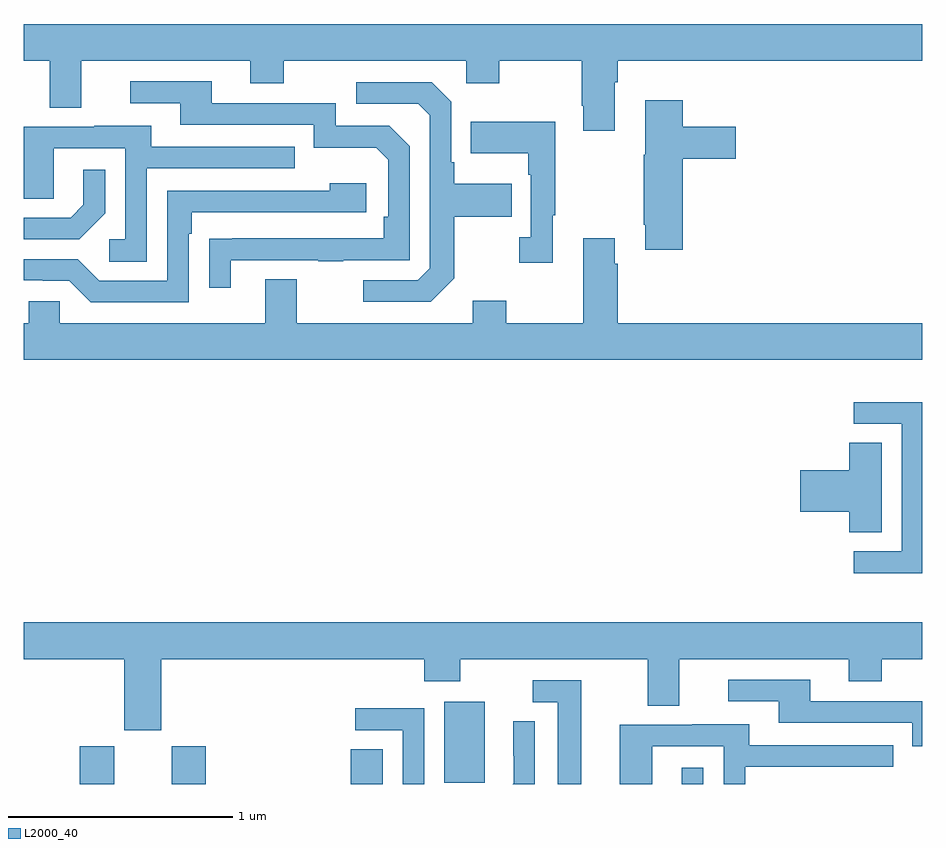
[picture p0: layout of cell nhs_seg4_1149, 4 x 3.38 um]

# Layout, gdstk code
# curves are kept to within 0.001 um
import gdstk
lib = gdstk.Library(unit=1e-6, precision=1e-09)
def R(c, l, rs):  # rectangles x0, y0, x1, y1
    for r in rs: c.add(gdstk.rectangle(r[:2], r[2:], *l))
def P(c, l, *ps):  # polygons
    for p in ps: c.add(gdstk.Polygon(p, *l))
L2000_40 = (2000, 40)

nhs_seg4_1149 = lib.new_cell('nhs_seg4_1149')
R(nhs_seg4_1149, L2000_40, [(169.25,826.9,169.402,827.067), (169.658,826.9,169.811,827.067), (170.456,826.9,170.599,827.054), (171.929,826.9,172.026,826.972), (170.873,826.905,171.052,827.266)])
P(nhs_seg4_1149, L2000_40, [(171.631,830.024),(171.644,830.024),(171.644,830.12),(173,830.12),(173,830.284),(169,830.284),(169,830.12),(169.115,830.12),(169.115,829.912),(169.255,829.912),(169.255,830.12),(170.009,830.12),(170.009,830.021),(170.157,830.021),(170.157,830.12),(170.97,830.12),(170.97,830.021),(171.117,830.021),(171.117,830.12),(171.484,830.12),(171.484,829.921),(171.491,829.921),(171.491,829.809),(171.631,829.809)],
  [(169.921,829.233),(170.311,829.233),(170.311,829.228),(170.423,829.228),(170.423,829.233),(170.718,829.233),(170.718,829.74),(170.628,829.83),(170.388,829.83),(170.388,829.932),(169.837,829.932),(169.837,830.028),(169.473,830.028),(169.473,829.932),(169.697,829.932),(169.697,829.836),(170.292,829.836),(170.292,829.733),(170.569,829.733),(170.622,829.68),(170.622,829.426),(170.602,829.426),(170.602,829.329),(169.825,829.328),(169.825,829.11),(169.921,829.11)],
  [(170.917,829.153),(170.917,829.426),(171.173,829.426),(171.173,829.573),(170.917,829.573),(170.917,829.669),(170.904,829.669),(170.904,829.938),(170.817,830.025),(170.481,830.025),(170.481,829.929),(170.757,829.929),(170.808,829.878),(170.808,829.197),(170.754,829.143),(170.511,829.143),(170.511,829.047),(170.811,829.047)],
  [(171.935,829.685),(172.171,829.685),(172.171,829.827),(171.935,829.827),(171.935,829.945),(171.767,829.945),(171.767,829.701),(171.76,829.701),(171.76,829.39),(171.767,829.39),(171.767,829.278),(171.935,829.278)],
  [(171.355,829.433),(171.367,829.433),(171.367,829.849),(170.989,829.849),(170.989,829.709),(171.246,829.709),(171.246,829.613),(171.258,829.613),(171.258,829.334),(171.207,829.334),(171.207,829.221),(171.355,829.221)],
  [(169.548,829.641),(170.207,829.641),(170.207,829.737),(169.567,829.737),(169.567,829.831),(169.313,829.831),(169.313,829.827),(169,829.827),(169,829.507),(169.134,829.507),(169.134,829.731),(169.452,829.731),(169.452,829.326),(169.38,829.326),(169.38,829.225),(169.548,829.225)],
  [(169.362,829.442),(169.362,829.636),(169.265,829.636),(169.265,829.479),(169.208,829.422),(169,829.422),(169,829.326),(169.246,829.326)],
  [(169.734,829.349),(169.747,829.349),(169.747,829.446),(170.524,829.446),(170.524,829.576),(170.363,829.576),(170.363,829.542),(169.638,829.542),(169.638,829.14),(169.335,829.14),(169.239,829.236),(169,829.236),(169,829.143),(169.085,829.143),(169.085,829.14),(169.203,829.14),(169.299,829.044),(169.734,829.044)],
  [(173,828.952),(171.644,828.952),(171.644,829.217),(171.631,829.217),(171.631,829.33),(171.491,829.33),(171.491,828.952),(171.147,828.952),(171.147,829.051),(170.999,829.051),(170.999,828.952),(170.215,828.952),(170.215,829.147),(170.075,829.147),(170.075,828.952),(169.161,828.952),(169.161,829.05),(169.023,829.05),(169.023,828.952),(169,828.952),(169,828.788),(173,828.788)],
  [(173,828.6),(172.695,828.6),(172.695,828.504),(172.908,828.504),(172.908,827.937),(172.695,827.937),(172.695,827.839),(173,827.839)],
  [(172.819,828.419),(172.676,828.419),(172.676,828.296),(172.458,828.296),(172.458,828.113),(172.676,828.113),(172.676,828.022),(172.819,828.022)],
  [(169.612,827.456),(170.783,827.456),(170.783,827.357),(170.943,827.357),(170.943,827.456),(171.779,827.456),(171.779,827.248),(171.919,827.248),(171.919,827.456),(172.673,827.456),(172.673,827.357),(172.821,827.357),(172.821,827.456),(173,827.456),(173,827.62),(169,827.62),(169,827.456),(169.448,827.456),(169.448,827.139),(169.612,827.139)],
  [(173,827.268),(172.501,827.268),(172.501,827.364),(172.137,827.364),(172.137,827.268),(172.361,827.268),(172.361,827.172),(172.956,827.172),(172.956,827.069),(173,827.069)],
  [(171.481,827.361),(171.267,827.361),(171.267,827.265),(171.377,827.265),(171.377,826.9),(171.481,826.9)],
  [(170.784,827.238),(170.475,827.238),(170.475,827.139),(170.688,827.139),(170.688,826.9),(170.784,826.9)],
  [(171.276,827.18),(171.18,827.18),(171.18,827.026),(171.182,827.026),(171.182,826.904),(171.178,826.9),(171.276,826.9)],
  [(171.798,827.067),(172.116,827.067),(172.116,826.9),(172.212,826.9),(172.212,826.977),(172.871,826.977),(172.871,827.073),(172.231,827.073),(172.231,827.167),(171.977,827.167),(171.977,827.163),(171.653,827.163),(171.653,826.9),(171.798,826.9)])

lib.write_gds('nhs_seg4_1149.gds')
